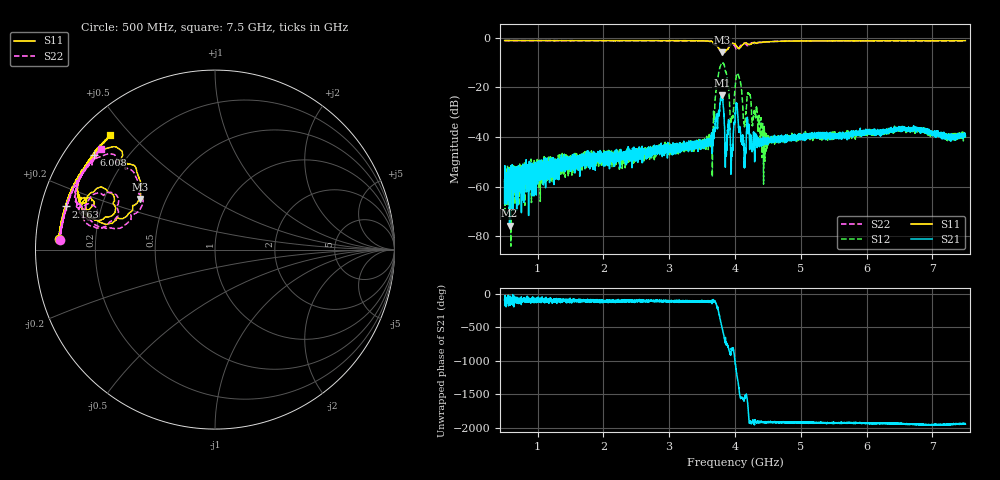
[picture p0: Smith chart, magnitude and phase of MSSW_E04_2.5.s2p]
!Keysight Technologies,M9374A,MY55442783,A.12.55.05
!Date: Wednesday, May 19, 2021 18:22:29
!Correction: S11(Full 2 Port(1,2))
!S21(Full 2 Port(1,2))
!S12(Full 2 Port(1,2))
!S22(Full 2 Port(1,2))
!S2P File: Measurements: S11, S21, S12, S22:
# Hz S  RI  R 50
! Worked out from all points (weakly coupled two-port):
!   7001 points, 500 MHz to 7.5 GHz, reference 50 ohm
!   highest |S21| = -23.17 dB at 3.8 GHz (marker M1); lowest = -75.7 dB at 575 MHz (marker M2)
!   lowest |S11| = -6.0 dB at 3.807 GHz (marker M3), VSWR 3.02, Z = 17.9 + j13.5 ohm
!   |S11| at or under -10 dB: nowhere
!   |S22| runs from -6.5 to -1.2 dB; largest |S21 - S12| = 0.27
!   S11 on the Smith chart (normalised r, x): 500 MHz: 0.07, +0.03; 2.163 GHz: 0.07, +0.14; 6.008 GHz: 0.09, +0.34; 7.5 GHz: 0.09, +0.44
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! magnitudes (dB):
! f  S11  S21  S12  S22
! 500 MHz  -1.2  -57.3  -57.8  -1.2
! 575 MHz  -1.2  -75.7  -68.8  -1.2
! 1.667 GHz  -1.2  -47.8  -48.3  -1.3
! 2.163 GHz  -1.2  -48.2  -47.7  -1.3
! 2.834 GHz  -1.3  -45.2  -45.1  -1.3
! 3.625 GHz  -1.5  -43.2  -42.9  -1.6
! 3.66 GHz  -1.7  -39.3  -42.2  -1.8
! 3.732 GHz  -3.4  -36.7  -17.5  -3.5
! 3.8 GHz  -5.7  -23.2  -10.3  -6.1
! 3.807 GHz  -6.0  -23.3  -10.1  -6.4
! 3.858 GHz  -5.5  -44.3  -13.8  -5.4
! 3.947 GHz  -2.6  -44.5  -32.7  -2.4
! 4 GHz  -2.6  -33.1  -20.9  -3.3
! 4.058 GHz  -4.4  -38.2  -15.6  -4.2
! 4.134 GHz  -2.5  -45.5  -34.0  -2.3
! 4.213 GHz  -2.8  -36.0  -22.9  -2.9
! 4.275 GHz  -2.0  -41.3  -32.8  -2.2
! 4.465 GHz  -1.8  -41.9  -39.6  -1.8
! 5.167 GHz  -1.4  -39.4  -39.7  -1.4
! 6.008 GHz  -1.3  -37.4  -39.5  -1.4
! 6.334 GHz  -1.3  -37.8  -37.7  -1.4
! 7.5 GHz  -1.3  -39.5  -39.3  -1.4
